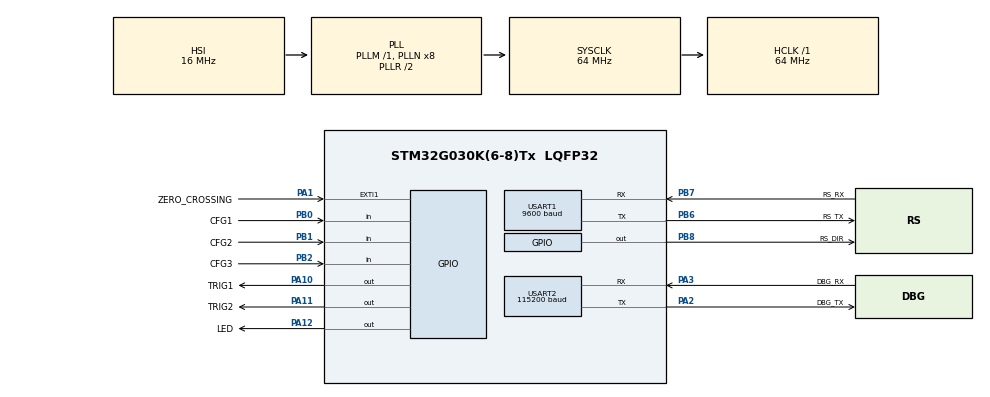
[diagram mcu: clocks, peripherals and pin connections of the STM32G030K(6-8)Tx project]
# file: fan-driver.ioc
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Mcu.Family=STM32G0
Mcu.Name=STM32G030K(6-8)Tx
Mcu.Package=LQFP32
NVIC.EXTI0_1_IRQn=true\:0\:0\:false\:false\:true\:true\:true\:true
NVIC.TIM3_IRQn=true\:0\:0\:false\:false\:true\:true\:true\:true
NVIC.USART1_IRQn=true\:0\:0\:false\:false\:true\:true\:true\:true
NVIC.USART2_IRQn=true\:0\:0\:false\:false\:true\:true\:true\:true
PA1.GPIO_Label=ZERO_CROSSING
PA1.GPIO_ModeDefaultEXTI=GPIO_MODE_IT_FALLING
PA1.Signal=GPXTI1
PA10.GPIO_Label=TRIG1
PA10.Signal=GPIO_Output
PA11\ [PA9].GPIO_Label=TRIG2
PA11\ [PA9].Signal=GPIO_Output
PA12\ [PA10].GPIO_Label=LED
PA12\ [PA10].Signal=GPIO_Output
PA13.Mode=Serial_Wire
PA13.Signal=SYS_SWDIO
PA14-BOOT0.Mode=Serial_Wire
PA14-BOOT0.Signal=SYS_SWCLK
PA2.GPIO_Label=DBG_TX
PA2.GPIO_Speed=GPIO_SPEED_FREQ_LOW
PA2.Mode=Asynchronous
PA2.Signal=USART2_TX
PA3.GPIO_Label=DBG_RX
PA3.Mode=Asynchronous
PA3.Signal=USART2_RX
PB0.GPIO_Label=CFG1
PB0.Signal=GPIO_Input
PB1.GPIO_Label=CFG2
PB1.Signal=GPIO_Input
PB2.GPIO_Label=CFG3
PB2.Signal=GPIO_Input
PB6.GPIO_Label=RS_TX
PB6.GPIO_Speed=GPIO_SPEED_FREQ_MEDIUM
PB6.Mode=Asynchronous
PB6.Signal=USART1_TX
PB7.GPIO_Label=RS_RX
PB7.GPIO_Speed=GPIO_SPEED_FREQ_MEDIUM
PB7.Mode=Asynchronous
PB7.Signal=USART1_RX
PB8.GPIO_Label=RS_DIR
PB8.Signal=GPIO_Output
ProjectManager.HeapSize=0x200
ProjectManager.StackSize=0x400
ProjectManager.TargetToolchain=STM32CubeIDE
RCC.ADCFreq_Value=64000000
RCC.AHBFreq_Value=64000000
RCC.CortexFreq_Value=64000000
RCC.EXTERNAL_CLOCK_VALUE=12288000
RCC.FLatency=FLASH_LATENCY_2
RCC.HCLKFreq_Value=64000000
RCC.HSE_VALUE=8000000
RCC.HSI_VALUE=16000000
RCC.LSE_VALUE=32768
RCC.SYSCLKFreq_VALUE=64000000
RCC.SYSCLKSource=RCC_SYSCLKSOURCE_PLLCLK
RCC.VCOOutputFreq_Value=128000000
TIM3.AutoReloadPreload=TIM_AUTORELOAD_PRELOAD_DISABLE
TIM3.ClockDivision=TIM_CLOCKDIVISION_DIV1
TIM3.CounterMode=TIM_COUNTERMODE_UP
TIM3.Period=6400
TIM3.Prescaler=0
TIM3.TIM_MasterOutputTrigger=TIM_TRGO_RESET
TIM3.TIM_MasterSlaveMode=TIM_MASTERSLAVEMODE_DISABLE
USART1.AutoBaudRateEnableParam=UART_ADVFEATURE_AUTOBAUDRATE_DISABLE
USART1.BaudRate=9600
USART1.ClockPrescaler=PRESCALER_DIV1
USART1.DMADisableonRxErrorParam=ADVFEATURE_DMA_ENABLEONRXERROR
USART1.DataInvertParam=ADVFEATURE_DATAINV_DISABLE
USART1.FIFOMode=FIFOMODE_DISABLE
USART1.MSBFirstParam=ADVFEATURE_MSBFIRST_DISABLE
USART1.Mode=MODE_TX_RX
USART1.OneBitSampling=UART_ONE_BIT_SAMPLE_DISABLE
USART1.OverSampling=UART_OVERSAMPLING_16
USART1.OverrunDisableParam=ADVFEATURE_OVERRUN_ENABLE
USART1.Parity=PARITY_NONE
USART1.RXFIFOThreshold=RXFIFO_THRESHOLD_1EIGHTHFULL
USART1.RxPinLevelInvertParam=ADVFEATURE_RXINV_DISABLE
USART1.StopBits=STOPBITS_1
USART1.SwapParam=ADVFEATURE_SWAP_DISABLE
USART1.TXFIFOThreshold=TXFIFO_THRESHOLD_1EIGHTHFULL
USART1.TxPinLevelInvertParam=ADVFEATURE_TXINV_DISABLE
USART1.VirtualMode-Asynchronous=VM_ASYNC
USART1.WordLength=WORDLENGTH_8B
USART2.BaudRate=115200
USART2.ClockPrescaler=PRESCALER_DIV1
USART2.DMADisableonRxErrorParam=ADVFEATURE_DMA_ENABLEONRXERROR
USART2.DataInvertParam=ADVFEATURE_DATAINV_DISABLE
USART2.MSBFirstParam=ADVFEATURE_MSBFIRST_DISABLE
USART2.Mode=MODE_TX_RX
USART2.OneBitSampling=UART_ONE_BIT_SAMPLE_DISABLE
USART2.OverSampling=UART_OVERSAMPLING_16
USART2.OverrunDisableParam=ADVFEATURE_OVERRUN_ENABLE
USART2.Parity=PARITY_NONE
USART2.RxPinLevelInvertParam=ADVFEATURE_RXINV_DISABLE
USART2.StopBits=STOPBITS_1
USART2.SwapParam=ADVFEATURE_SWAP_DISABLE
USART2.TxPinLevelInvertParam=ADVFEATURE_TXINV_DISABLE
USART2.VirtualMode-Asynchronous=VM_ASYNC
USART2.WordLength=WORDLENGTH_8B
VP_TIM3_VS_ClockSourceINT.Mode=Internal
board=custom

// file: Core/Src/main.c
/* USER CODE BEGIN Header */
/**
  ******************************************************************************
  * @file           : main.c
  * @brief          : Main program body
  ******************************************************************************
  * @attention
  *
  * Copyright (c) 2023 STMicroelectronics.
  * All rights reserved.
  *
  * This software is licensed under terms that can be found in the LICENSE file
  * in the root directory of this software component.
  * If no LICENSE file comes with this software, it is provided AS-IS.
  *
  ******************************************************************************
  */
/* USER CODE END Header */
#include "main.h"

/* USER CODE BEGIN Includes */
#include <stdbool.h>
#include <math.h>
#include <string.h>
#include <config.h>
#include <modbus.h>
#include <gate_driver.h>
#include <logger.h>

/* USER CODE END Includes */

TIM_HandleTypeDef htim3;

UART_HandleTypeDef huart1;
UART_HandleTypeDef huart2;

/* USER CODE BEGIN PV */

/* Global variables */
static uint32_t gate_pulse_delay_counter_us = 0; // software timer used for driving gates
static uint32_t zero_crossing_watchdog_counter_us = 0; // software timer counter for periodic zero crossing presence check
static uint32_t zero_crossing_events_counter = 0; // counts zero crossing events for periodic interrupt presence check
static uint32_t log_counter_us = 0; // software timer counter for periodic serial log
static uint32_t modbus_rx_time_interval_counter = 0; // software timer for Modbus frame receive end
static uint8_t modbus_buffer[MODBUS_RX_BUFFER_SIZE]; // Modbus buffer for incoming frame
static uint8_t * modbus_buffer_write_pointer = modbus_buffer; // write pointer for getting bytes to Modbus RX buffer
static bool modbus_request_pending_flag = false; // Flag indicating Modbus frame was collected and is ready for processing
static uint8_t uart1_rx_byte = 0;
static uint8_t uart2_rx_byte = 0;

static channel_t channel_array[OUTPUT_CHANNELS_NUMBER] = {
	{TRIG1_Pin, TRIG1_GPIO_Port, INIT_VOLTAGE, 0, GATE_IDLE},
	{TRIG2_Pin, TRIG2_GPIO_Port, INIT_VOLTAGE, 0, GATE_IDLE},
};

/* USER CODE END PV */

void SystemClock_Config(void);
static void MX_GPIO_Init(void);
static void MX_USART1_UART_Init(void);
static void MX_USART2_UART_Init(void);
static void MX_TIM3_Init(void);
/* USER CODE BEGIN PFP */

void log_working_params(void);
void update_working_params(void);
bool logger_transmit_byte(uint8_t * byte);
bool is_modbus_buffer_empty(void);
bool is_modbus_buffer_full(void);

/* USER CODE END PFP */

int main(void)
{
  /* USER CODE BEGIN 1 */
  HAL_StatusTypeDef status;

  /* USER CODE END 1 */

  /* MCU Configuration--------------------------------------------------------*/

  /* Reset of all peripherals, Initializes the Flash interface and the Systick. */
  HAL_Init();

  /* Configure the system clock */
  SystemClock_Config();

  /* Initialize all configured peripherals */
  MX_GPIO_Init();
  MX_USART1_UART_Init();
  MX_USART2_UART_Init();
  MX_TIM3_Init();
  /* USER CODE BEGIN 2 */
  logger_init(&logger_transmit_byte);
  logger_set_level(LEVEL_INFO);
  status = HAL_TIM_Base_Start_IT(&htim3);
  if (status != HAL_OK)
    {
  	  logger_log(LEVEL_ERROR, "Cannot start timer\r\n");
    }
    status = HAL_UART_Receive_IT(&huart1, &uart1_rx_byte, 1);
    if (status != HAL_OK)
    {
  	  logger_log(LEVEL_ERROR, "Cannot start UART1 receiving\r\n");
    }
   status = HAL_UART_Receive_IT(&huart2, &uart2_rx_byte, 1);
   if (status != HAL_OK)
   {
 	  logger_log(LEVEL_ERROR, "Cannot start UART2 receiving\r\n");
   }

    logger_log(LEVEL_INFO, "App init done\r\n");

  /* USER CODE END 2 */

  /* Infinite loop */
  /* USER CODE BEGIN WHILE */

  update_working_params();
  while (1)
  {
	if (modbus_request_pending_flag == true)
	{
		uint8_t response_buffer[MODBUS_TX_BUFFER_SIZE];
		uint16_t response_size;
		int modbus_frame_len = modbus_buffer_write_pointer - modbus_buffer;
		if (modbus_process_frame(modbus_buffer, modbus_frame_len, response_buffer, &response_size))
		{
			HAL_GPIO_WritePin(RS_DIR_GPIO_Port, RS_DIR_Pin, GPIO_PIN_SET);
			HAL_StatusTypeDef status = HAL_UART_Transmit(&huart1, response_buffer, response_size, 100);
			if (status != HAL_OK)
			{
				logger_log(LEVEL_ERROR, "Modbus cannot send response");
			}
			HAL_GPIO_WritePin(RS_DIR_GPIO_Port, RS_DIR_Pin, GPIO_PIN_RESET);
		}
		else
		{
			logger_log(LEVEL_ERROR, "Can't process Modbus frame\r\n");
		}

		update_working_params();
		modbus_request_pending_flag = false;
		modbus_buffer_write_pointer = modbus_buffer;
		memset(modbus_buffer, 0, sizeof(modbus_buffer)); // clear buffer
	}
    /* USER CODE END WHILE */

  }
}

void SystemClock_Config(void)
{
  RCC_OscInitTypeDef RCC_OscInitStruct = {0};
  RCC_ClkInitTypeDef RCC_ClkInitStruct = {0};

  /** Configure the main internal regulator output voltage
  */
  HAL_PWREx_ControlVoltageScaling(PWR_REGULATOR_VOLTAGE_SCALE1);

  /** Initializes the RCC Oscillators according to the specified parameters
  * in the RCC_OscInitTypeDef structure.
  */
  RCC_OscInitStruct.OscillatorType = RCC_OSCILLATORTYPE_HSI;
  RCC_OscInitStruct.HSIState = RCC_HSI_ON;
  RCC_OscInitStruct.HSIDiv = RCC_HSI_DIV1;
  RCC_OscInitStruct.HSICalibrationValue = RCC_HSICALIBRATION_DEFAULT;
  RCC_OscInitStruct.PLL.PLLState = RCC_PLL_ON;
  RCC_OscInitStruct.PLL.PLLSource = RCC_PLLSOURCE_HSI;
  RCC_OscInitStruct.PLL.PLLM = RCC_PLLM_DIV1;
  RCC_OscInitStruct.PLL.PLLN = 8;
  RCC_OscInitStruct.PLL.PLLP = RCC_PLLP_DIV2;
  RCC_OscInitStruct.PLL.PLLR = RCC_PLLR_DIV2;
  if (HAL_RCC_OscConfig(&RCC_OscInitStruct) != HAL_OK)
  {
    Error_Handler();
  }

  /** Initializes the CPU, AHB and APB buses clocks
  */
  RCC_ClkInitStruct.ClockType = RCC_CLOCKTYPE_HCLK|RCC_CLOCKTYPE_SYSCLK
                              |RCC_CLOCKTYPE_PCLK1;
  RCC_ClkInitStruct.SYSCLKSource = RCC_SYSCLKSOURCE_PLLCLK;
  RCC_ClkInitStruct.AHBCLKDivider = RCC_SYSCLK_DIV1;
  RCC_ClkInitStruct.APB1CLKDivider = RCC_HCLK_DIV1;

  if (HAL_RCC_ClockConfig(&RCC_ClkInitStruct, FLASH_LATENCY_2) != HAL_OK)
  {
    Error_Handler();
  }
}

static void MX_TIM3_Init(void)
{

  TIM_ClockConfigTypeDef sClockSourceConfig = {0};
  TIM_MasterConfigTypeDef sMasterConfig = {0};

  htim3.Instance = TIM3;
  htim3.Init.Prescaler = 0;
  htim3.Init.CounterMode = TIM_COUNTERMODE_UP;
  htim3.Init.Period = 6400;
  htim3.Init.ClockDivision = TIM_CLOCKDIVISION_DIV1;
  htim3.Init.AutoReloadPreload = TIM_AUTORELOAD_PRELOAD_DISABLE;
  if (HAL_TIM_Base_Init(&htim3) != HAL_OK)
  {
    Error_Handler();
  }
  sClockSourceConfig.ClockSource = TIM_CLOCKSOURCE_INTERNAL;
  if (HAL_TIM_ConfigClockSource(&htim3, &sClockSourceConfig) != HAL_OK)
  {
    Error_Handler();
  }
  sMasterConfig.MasterOutputTrigger = TIM_TRGO_RESET;
  sMasterConfig.MasterSlaveMode = TIM_MASTERSLAVEMODE_DISABLE;
  if (HAL_TIMEx_MasterConfigSynchronization(&htim3, &sMasterConfig) != HAL_OK)
  {
    Error_Handler();
  }

}

static void MX_USART1_UART_Init(void)
{

  huart1.Instance = USART1;
  huart1.Init.BaudRate = 9600;
  huart1.Init.WordLength = UART_WORDLENGTH_8B;
  huart1.Init.StopBits = UART_STOPBITS_1;
  huart1.Init.Parity = UART_PARITY_NONE;
  huart1.Init.Mode = UART_MODE_TX_RX;
  huart1.Init.HwFlowCtl = UART_HWCONTROL_NONE;
  huart1.Init.OverSampling = UART_OVERSAMPLING_16;
  huart1.Init.OneBitSampling = UART_ONE_BIT_SAMPLE_DISABLE;
  huart1.Init.ClockPrescaler = UART_PRESCALER_DIV1;
  huart1.AdvancedInit.AdvFeatureInit = UART_ADVFEATURE_NO_INIT;
  if (HAL_UART_Init(&huart1) != HAL_OK)
  {
    Error_Handler();
  }
  if (HAL_UARTEx_SetTxFifoThreshold(&huart1, UART_TXFIFO_THRESHOLD_1_8) != HAL_OK)
  {
    Error_Handler();
  }
  if (HAL_UARTEx_SetRxFifoThreshold(&huart1, UART_RXFIFO_THRESHOLD_1_8) != HAL_OK)
  {
    Error_Handler();
  }
  if (HAL_UARTEx_DisableFifoMode(&huart1) != HAL_OK)
  {
    Error_Handler();
  }

}

static void MX_USART2_UART_Init(void)
{

  huart2.Instance = USART2;
  huart2.Init.BaudRate = 115200;
  huart2.Init.WordLength = UART_WORDLENGTH_8B;
  huart2.Init.StopBits = UART_STOPBITS_1;
  huart2.Init.Parity = UART_PARITY_NONE;
  huart2.Init.Mode = UART_MODE_TX_RX;
  huart2.Init.HwFlowCtl = UART_HWCONTROL_NONE;
  huart2.Init.OverSampling = UART_OVERSAMPLING_16;
  huart2.Init.OneBitSampling = UART_ONE_BIT_SAMPLE_DISABLE;
  huart2.Init.ClockPrescaler = UART_PRESCALER_DIV1;
  huart2.AdvancedInit.AdvFeatureInit = UART_ADVFEATURE_NO_INIT;
  if (HAL_UART_Init(&huart2) != HAL_OK)
  {
    Error_Handler();
  }

}

static void MX_GPIO_Init(void)
{
  GPIO_InitTypeDef GPIO_InitStruct = {0};

  /* GPIO Ports Clock Enable */
  __HAL_RCC_GPIOA_CLK_ENABLE();
  __HAL_RCC_GPIOB_CLK_ENABLE();

  /*Configure GPIO pin Output Level */
  HAL_GPIO_WritePin(GPIOA, TRIG1_Pin|TRIG2_Pin|LED_Pin, GPIO_PIN_RESET);

  /*Configure GPIO pin Output Level */
  HAL_GPIO_WritePin(RS_DIR_GPIO_Port, RS_DIR_Pin, GPIO_PIN_RESET);

  /*Configure GPIO pin : ZERO_CROSSING_Pin */
  GPIO_InitStruct.Pin = ZERO_CROSSING_Pin;
  GPIO_InitStruct.Mode = GPIO_MODE_IT_FALLING;
  GPIO_InitStruct.Pull = GPIO_NOPULL;
  HAL_GPIO_Init(ZERO_CROSSING_GPIO_Port, &GPIO_InitStruct);

  /*Configure GPIO pins : CFG1_Pin CFG2_Pin CFG3_Pin */
  GPIO_InitStruct.Pin = CFG1_Pin|CFG2_Pin|CFG3_Pin;
  GPIO_InitStruct.Mode = GPIO_MODE_INPUT;
  GPIO_InitStruct.Pull = GPIO_NOPULL;
  HAL_GPIO_Init(GPIOB, &GPIO_InitStruct);

  /*Configure GPIO pins : TRIG1_Pin TRIG2_Pin LED_Pin */
  GPIO_InitStruct.Pin = TRIG1_Pin|TRIG2_Pin|LED_Pin;
  GPIO_InitStruct.Mode = GPIO_MODE_OUTPUT_PP;
  GPIO_InitStruct.Pull = GPIO_NOPULL;
  GPIO_InitStruct.Speed = GPIO_SPEED_FREQ_LOW;
  HAL_GPIO_Init(GPIOA, &GPIO_InitStruct);

  /*Configure GPIO pin : RS_DIR_Pin */
  GPIO_InitStruct.Pin = RS_DIR_Pin;
  GPIO_InitStruct.Mode = GPIO_MODE_OUTPUT_PP;
  GPIO_InitStruct.Pull = GPIO_NOPULL;
  GPIO_InitStruct.Speed = GPIO_SPEED_FREQ_LOW;
  HAL_GPIO_Init(RS_DIR_GPIO_Port, &GPIO_InitStruct);

  /* EXTI interrupt init*/
  HAL_NVIC_SetPriority(EXTI0_1_IRQn, 0, 0);
  HAL_NVIC_EnableIRQ(EXTI0_1_IRQn);

}

/* USER CODE BEGIN 4 */

/* Timer 1 overflow interrupt callback */
void HAL_TIM_PeriodElapsedCallback(TIM_HandleTypeDef *htim)
{
	if (htim->Instance == TIM3)
	{
		drive_fans(channel_array, OUTPUT_CHANNELS_NUMBER, gate_pulse_delay_counter_us);

		gate_pulse_delay_counter_us += MAIN_TIMER_RESOLUTION_US;
		log_counter_us += MAIN_TIMER_RESOLUTION_US;
		modbus_rx_time_interval_counter += MAIN_TIMER_RESOLUTION_US;
		zero_crossing_watchdog_counter_us += MAIN_TIMER_RESOLUTION_US;

		if ((log_counter_us > LOGGING_PERIOD_US))
		{
			log_working_params();
			log_counter_us = 0;
		}

		if (zero_crossing_watchdog_counter_us >= ZERO_CROSSING_CHECK_PERIOD_US)
		{
			// no zero crossing events since last check, set error
			if (zero_crossing_events_counter == 0)
			{
				modbus_set_reg_value(2, 1);
			}
			// detected any zero crossing events since last check, clear error
			else
			{
				modbus_set_reg_value(2, 0);
			}
			zero_crossing_watchdog_counter_us = 0;
			zero_crossing_events_counter = 0;
		}
	}

	if ( (modbus_rx_time_interval_counter > MAX_TIME_BETWEEN_FRAMES_US) && (!is_modbus_buffer_empty()) )
	{
		modbus_request_pending_flag = true;
	}
}

/* UART RX finished callback */
void HAL_UART_RxCpltCallback(UART_HandleTypeDef *huart)
{
	// Modbus UART received byte
	if (huart->Instance == USART1)
	{
		logger_log(LEVEL_DEBUG, "UART1 (Modbus) received 0x%02x\r\n", uart1_rx_byte);

		if (modbus_request_pending_flag == true) // don't store new bytes while previous request is processed
		{
			return;
		}
		else
		{
			modbus_rx_time_interval_counter = 0;

			if (!is_modbus_buffer_full())
			{
				*modbus_buffer_write_pointer = uart1_rx_byte;
				modbus_buffer_write_pointer++;
			}
			else
			{
				logger_log(LEVEL_ERROR, "Cannot get byte to buffer (buffer full)\r\n");
				modbus_buffer_write_pointer =  modbus_buffer;
			}
		}

		// Prepare for next byte receiving
		HAL_StatusTypeDef status = HAL_UART_Receive_IT(&huart1, &uart1_rx_byte, 1);
		if (status != HAL_OK)
		{
			logger_log(LEVEL_ERROR, "Cannot start UART1 receiving\r\n");
		}
	}

	// Serial debug UART received byte
	if (huart->Instance == USART2)
	{
		logger_log(LEVEL_DEBUG, "UART2 (debug) received 0x%02x\r\n", uart2_rx_byte);
		logger_set_level((uint8_t)uart2_rx_byte-'0');

		// Prepare for next byte receiving
		HAL_StatusTypeDef status = HAL_UART_Receive_IT(&huart2, &uart2_rx_byte, 1);
		if (status != HAL_OK)
		{
			logger_log(LEVEL_ERROR, "Cannot start UART2 receiving\r\n");
		}
	}
}

/* UART TX finished callback */
void HAL_UART_TxCpltCallback(UART_HandleTypeDef *huart)
{
	if (huart->Instance == USART1)
	{
		// Modbus UART transmit complete
	}
	if (huart->Instance == USART2)
	{
		// Debug UART transmit complete
		logger_transmit_next_byte();
	}
}

void HAL_GPIO_EXTI_Falling_Callback(uint16_t GPIO_Pin)
{
  /* Prevent unused argument(s) compilation warning */
  UNUSED(GPIO_Pin);
  // reset zero crossing counter
  if (gate_pulse_delay_counter_us > HALF_SINE_PERIOD_US - 500) // additional check to avoid some random reset
  {
	gate_pulse_delay_counter_us = ZERO_CROSSING_DETECTION_OFFSET_US;
  }

  zero_crossing_events_counter++;

}

void log_working_params()
{
	logger_log(LEVEL_INFO, "FAN CH | VOLTAGE | DELAY_US |\r\n");
	logger_log(LEVEL_INFO, "-------|---------|----------|\r\n");
	for (int i = 0; i < OUTPUT_CHANNELS_NUMBER; i++)
	{
		logger_log(LEVEL_INFO, "   %01d   |   %03d   |   %04d   |\r\n", i+1, channel_array[i].output_voltage_decpercent/10, channel_array[i].activation_delay_us);
	}
}

void update_working_params()
{
	for (uint8_t channel = 0; channel < OUTPUT_CHANNELS_NUMBER; channel++)
	{
		// get voltage from Modbus registers
		channel_array[channel].output_voltage_decpercent = modbus_get_reg_value(channel)*VOLTAGE_PRECISION_MULTIPLIER;

		// calculate gate delay
		if ( (channel_array[channel].output_voltage_decpercent <= MIN_OUTPUT_VOLTAGE_DECPERCENT) ||
			 (channel_array[channel].output_voltage_decpercent >= MAX_OUTPUT_VOLTAGE_DECPERCENT) )
		{
			// set '0' to indicate constant gate state
			channel_array[channel].activation_delay_us = 0;
		}
		else
		{
            channel_array[channel].activation_delay_us = get_gate_delay_us(channel_array[channel].output_voltage_decpercent);
		}
	}
}

bool logger_transmit_byte(uint8_t * byte)
{
	HAL_StatusTypeDef retVal = HAL_UART_Transmit_IT(&huart2, (uint8_t*)byte, 1);
	if (retVal == HAL_OK)
	{
		return true;
	}
	else
	{
		return false;
	}
}

bool is_modbus_buffer_empty(void)
{
	if (modbus_buffer_write_pointer == modbus_buffer)
		return true;
	else
		return false;
}

bool is_modbus_buffer_full(void)
{
	if (modbus_buffer_write_pointer <= modbus_buffer + MODBUS_RX_BUFFER_SIZE)
		return false;
	else
		return true;
}

/* USER CODE END 4 */

void Error_Handler(void)
{
  __disable_irq();
  while (1)
  {
  }
}
